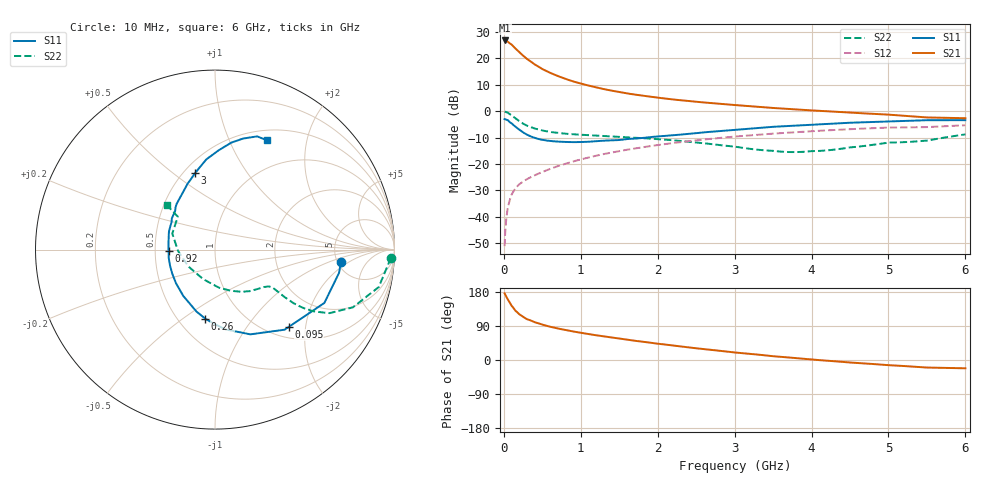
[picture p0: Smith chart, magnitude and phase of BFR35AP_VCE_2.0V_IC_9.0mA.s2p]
! Infineon Technologies  Discrete & RF Semiconductors
! BFR35AP
! VCE =  2.0 V,  IC =  9.0 mA
! Common Emitter S-Parameters:  Nov 2015
# GHz  S  MA  R  50
!  f  S11  S21  S12  S22
! GHz  MAG  ANG  MAG  ANG  MAG  ANG  MAG  ANG
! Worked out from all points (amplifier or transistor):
!   210 points, 10 MHz to 6 GHz, reference 50 ohm
!   highest |S21| = 26.7 dB at 10 MHz (marker M1)
!   |S21| within 3 dB of that: start of sweep to 149.3 MHz
!   unconditionally stable (mu >= 1): 566.7 MHz to 3.901 GHz
!   at 185 MHz: K = 0.54, MSG = 25.4 dB, |S12| = -28.1 dB
!   at 1.52 GHz: K = 1.13, MAG = 8.9 dB, |S12| = -15.0 dB
!   at 6 GHz: K = 0.98, MSG = 1.3 dB, |S12| = -5.3 dB
!   S11 on the Smith chart (normalised r, x): 10 MHz: 5.39, -1.45; 95 MHz: 1.21, -1.62; 260 MHz: 0.67, -0.61; 920 MHz: 0.59, -0.01; 3 GHz: 0.57, +0.60; 6 GHz: 0.62, +1.39
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0.01  0.7057 -5.5  21.65 175.8  0.0028 87.3  0.9808 -2.7
0.02  0.703 -10.7  21.42 171.5  0.0058 85.7  0.9666 -5.3
0.05  0.6779 -26.0  20.59 160.1  0.0144 76.9  0.9358 -12.9
0.095  0.5952 -46.4  18.34 145.2  0.0251 69.8  0.8422 -21.6
0.1  0.5913 -49.0  18.18 143.4  0.0263 69.4  0.8332 -22.7
0.15  0.5115 -67.4  15.29 130.1  0.0345 63.4  0.7302 -29.0
0.2  0.4482 -82.6  13.07 120.8  0.0413 60.9  0.647 -32.1
0.26  0.3879 -98.1  10.88 112.4  0.0476 59.6  0.5693 -33.8
0.3  0.3601 -106.7  9.709 107.8  0.0517 59.8  0.5313 -34.3
0.4  0.3128 -124.4  7.653 99.8  0.0611 59.6  0.4694 -34.3
0.5  0.2869 -139.3  6.242 93.1  0.0706 61.1  0.4294 -33.9
0.6  0.2732 -150.8  5.306 87.8  0.0806 61.8  0.4042 -33.5
0.7  0.266 -160.3  4.612 83.1  0.0911 62.3  0.3877 -33.5
0.92  0.2591 -178.6  3.573 74.6  0.1139 62.3  0.3633 -34.5
1.02  0.2612 173.7  3.257 71.1  0.124 62.0  0.3561 -35.4
1.4  0.2804 152.3  2.436 59.4  0.1644 60.0  0.3321 -40.4
2.02  0.3341 129.3  1.782 42.6  0.2301 54.0  0.2929 -52.5
3  0.4417 104.4  1.304 19.9  0.3304 42.2  0.2133 -84.0
3.1  0.4534 102.4  1.27 18.1  0.339 40.7  0.2027 -88.7
4.1  0.5634 86.4  1.012 -0.3  0.4251 27.4  0.1768 -153.9
5.1  0.6445 74.5  0.837 -14.7  0.49 13.5  0.2557 155.0
6  0.6741 64.8  0.734 -21.9  0.5408 3.6  0.3633 137.3
